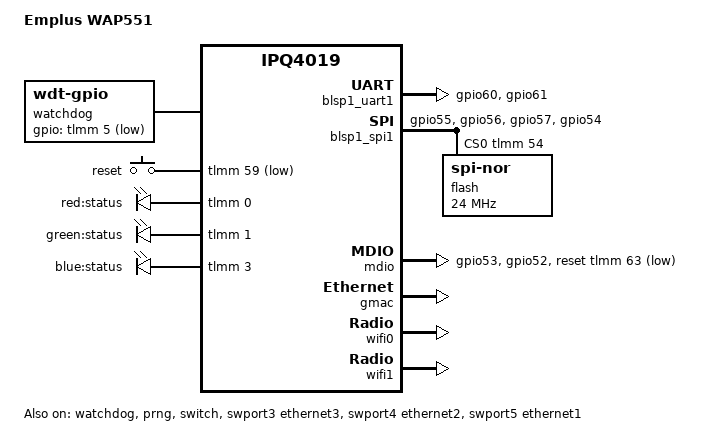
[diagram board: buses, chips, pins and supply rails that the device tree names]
// SPDX-License-Identifier: GPL-2.0-or-later OR MIT

#include "qcom-ipq4019.dtsi"
#include <dt-bindings/gpio/gpio.h>
#include <dt-bindings/input/input.h>
#include <dt-bindings/soc/qcom,tcsr.h>

/ {
	model = "Emplus WAP551";
	compatible = "emplus,wap551";

	aliases {
		led-boot = &led_status_blue;
		led-failsafe = &led_status_red;
		led-running = &led_status_green;
		led-upgrade = &led_status_blue;
	};

	tcsr@1949000 {
		compatible = "qcom,tcsr";
		reg = <0x1949000 0x100>;
		qcom,wifi_glb_cfg = <TCSR_WIFI_GLB_CFG>;
	};

	ess_tcsr@1953000 {
		compatible = "qcom,tcsr";
		reg = <0x1953000 0x1000>;
		qcom,ess-interface-select = <TCSR_ESS_PSGMII>;
	};

	tcsr@1957000 {
		compatible = "qcom,tcsr";
		reg = <0x1957000 0x100>;
		qcom,wifi_noc_memtype_m0_m2 = <TCSR_WIFI_NOC_MEMTYPE_M0_M2>;
	};

	watchdog {
		compatible = "linux,wdt-gpio";
		gpios = <&tlmm 5 GPIO_ACTIVE_LOW>;
		hw_algo = "toggle";
		hw_margin_ms = <30000>;
		always-running;
	};

	keys {
		compatible = "gpio-keys";

		reset {
			label = "reset";
			gpios = <&tlmm 59 GPIO_ACTIVE_LOW>;
			linux,code = <KEY_RESTART>;
		};
	};

	leds {
		compatible = "gpio-leds";

		led_status_red: status_red {
			label = "red:status";
			gpios = <&tlmm 0 GPIO_ACTIVE_HIGH>;
		};

		led_status_green: status_green {
			label = "green:status";
			gpios = <&tlmm 1 GPIO_ACTIVE_HIGH>;
		};

		led_status_blue: status_blue {
			label = "blue:status";
			gpios = <&tlmm 3 GPIO_ACTIVE_HIGH>;
		};
	};
};

&tlmm {
	serial0_pins: serial0_pinmux {
		mux_uart {
			pins = "gpio60", "gpio61";
			function = "blsp_uart0";
			bias-disable;
		};
	};

	spi0_pins: spi0_pinmux {
		mux_spi {
			function = "blsp_spi0";
			pins = "gpio55", "gpio56", "gpio57";
			drive-strength = <12>;
			bias-disable;
		};

		mux_cs {
			function = "gpio";
			pins = "gpio54";
			drive-strength = <2>;
			bias-disable;
			output-high;
		};
	};

	mdio_pins: mdio_pinmux {
		mux_mdio {
			pins = "gpio53";
			function = "mdio";
			bias-pull-up;
		};

		mux_mdc {
			pins = "gpio52";
			function = "mdc";
			bias-pull-up;
		};
	};
};

&blsp1_uart1 {
	status = "okay";

	pinctrl-0 = <&serial0_pins>;
	pinctrl-names = "default";
};

&watchdog {
	status = "okay";
};

&prng {
	status = "okay";
};

&blsp_dma {
	status = "okay";
};

&blsp1_spi1 {
	status = "okay";

	pinctrl-0 = <&spi0_pins>;
	pinctrl-names = "default";
	cs-gpios = <&tlmm 54 GPIO_ACTIVE_HIGH>;

	flash@0 {
		compatible = "jedec,spi-nor", "n25q128a11";
		reg = <0>;
		spi-max-frequency = <24000000>;

		// Bootloader will populate the partitions
		partitions {
			compatible = "fixed-partitions";
			#address-cells = <1>;
			#size-cells = <1>;
		};
	};
};

&mdio {
	status = "okay";

	pinctrl-0 = <&mdio_pins>;
	pinctrl-names = "default";
	reset-gpios = <&tlmm 63 GPIO_ACTIVE_LOW>;
};

&gmac {
	status = "okay";
};

&switch {
	status = "okay";
};

&swport3 {
	status = "okay";

	label = "ethernet3";
};

&swport4 {
	status = "okay";

	label = "ethernet2";
};

&swport5 {
	status = "okay";

	label = "ethernet1";
};

&wifi0 {
	status = "okay";
	qcom,ath10k-calibration-variant = "Emplus-WAP551";
};

&wifi1 {
	status = "okay";
	qcom,ath10k-calibration-variant = "Emplus-WAP551";
};
